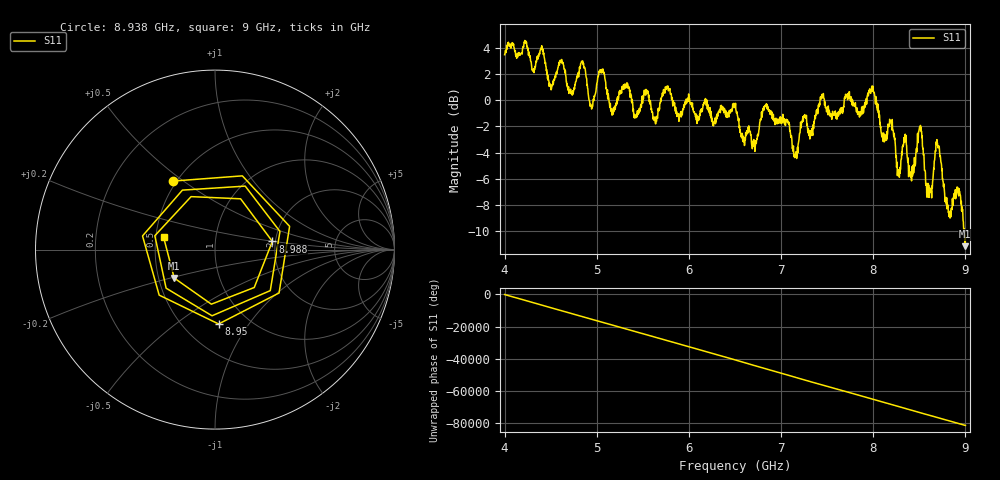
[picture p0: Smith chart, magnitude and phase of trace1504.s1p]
! Created with skrf 1.8.0 (http://scikit-rf.org).
# Hz S RI R 50.0
!freq ReS11 ImS11
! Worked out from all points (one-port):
!   1601 points, 4 GHz to 9 GHz, reference 50 ohm
!   lowest |S11| = -11.1 dB at 8.997 GHz (marker M1), VSWR 1.77, Z = 30.1 - j10.4 ohm
!   |S11| at or under -10 dB: 8.989021 GHz to end of sweep
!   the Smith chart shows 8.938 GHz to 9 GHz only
!   S11 on the Smith chart (normalised r, x): 8.938 GHz: 0.48, +0.46; 8.95 GHz: 0.73, -0.73; 8.988 GHz: 1.93, +0.20; 9 GHz: 0.55, +0.08
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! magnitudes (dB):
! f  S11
! 4 GHz  3.5
! 4.403 GHz  4.2
! 4.506 GHz  0.8
! 4.625 GHz  2.9
! 4.722 GHz  0.5
! 4.85 GHz  2.9
! 4.941 GHz  -0.4
! 5.047 GHz  2.3
! 5.162 GHz  -0.9
! 5.25 GHz  0.5
! 5.875 GHz  -1.2
! 6.5 GHz  -0.5
! 6.588 GHz  -2.7
! 6.838 GHz  -0.5
! 7.125 GHz  -3.6
! 7.75 GHz  0.2
! 7.988 GHz  0.8
! 8.272 GHz  -5.3
! 8.375 GHz  -4.7
! 8.506 GHz  -2.0
! 8.597 GHz  -7.4
! 8.697 GHz  -3.3
! 8.816 GHz  -8.6
! 8.938 GHz  -7.0
! 8.95 GHz  -7.6
! 8.988 GHz  -9.8
! 8.997 GHz  -11.1
! 9 GHz  -10.6
